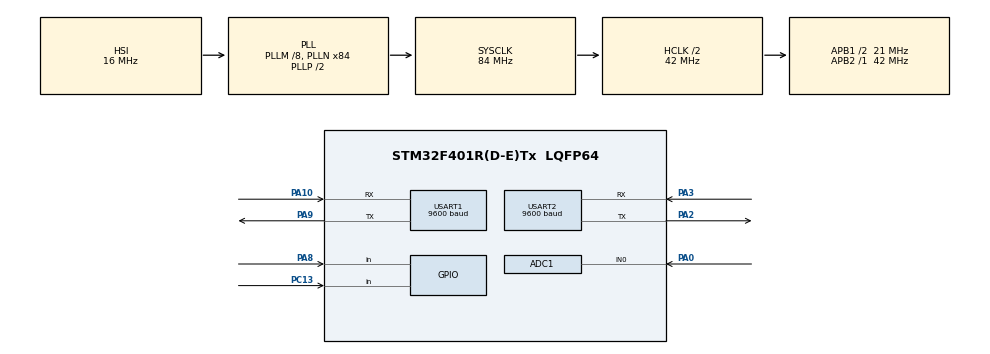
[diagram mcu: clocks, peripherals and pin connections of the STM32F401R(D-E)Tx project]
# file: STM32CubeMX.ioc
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ADC1.Channel-0\#ChannelRegularConversion=ADC_CHANNEL_0
ADC1.NbrOfConversionFlag=1
ADC1.Rank-0\#ChannelRegularConversion=1
ADC1.SamplingTime-0\#ChannelRegularConversion=ADC_SAMPLETIME_3CYCLES
ADC1.master=1
Mcu.Family=STM32F4
Mcu.Name=STM32F401R(D-E)Tx
Mcu.Package=LQFP64
NVIC.PriorityGroup=NVIC_PRIORITYGROUP_4
PA0-WKUP.Signal=ADCx_IN0
PA10.Mode=Asynchronous
PA10.Signal=USART1_RX
PA2.Mode=Asynchronous
PA2.Signal=USART2_TX
PA3.Mode=Asynchronous
PA3.Signal=USART2_RX
PA8.Signal=GPIO_Input
PA9.Mode=Asynchronous
PA9.Signal=USART1_TX
PC13-ANTI_TAMP.Signal=GPIO_Input
ProjectManager.HeapSize=0x200
ProjectManager.StackSize=0x400
ProjectManager.TargetToolchain=MDK-ARM V5
RCC.48MHZClocksFreq_Value=42000000
RCC.AHBCLKDivider=RCC_SYSCLK_DIV2
RCC.AHBFreq_Value=42000000
RCC.APB1CLKDivider=RCC_HCLK_DIV2
RCC.APB1Freq_Value=21000000
RCC.APB1TimFreq_Value=42000000
RCC.APB2Freq_Value=42000000
RCC.APB2TimFreq_Value=42000000
RCC.CortexFreq_Value=42000000
RCC.HCLKFreq_Value=42000000
RCC.HSE_VALUE=25000000
RCC.HSI_VALUE=16000000
RCC.LSE_VALUE=32768
RCC.PLLM=8
RCC.PLLN=84
RCC.SYSCLKFreq_VALUE=84000000
RCC.SYSCLKSource=RCC_SYSCLKSOURCE_PLLCLK
RCC.VCOOutputFreq_Value=168000000
SH.ADCx_IN0.0=ADC1_IN0,IN0
USART1.BaudRate=9600
USART1.VirtualMode=VM_ASYNC
USART2.BaudRate=9600
USART2.VirtualMode=VM_ASYNC
board=custom

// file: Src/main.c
/* USER CODE BEGIN Header */
/**
  ******************************************************************************
  * @file           : main.c
  * @brief          : Main program body
  ******************************************************************************
  * @attention
  *
  * Copyright (c) 2024 STMicroelectronics.
  * All rights reserved.
  *
  * This software is licensed under terms that can be found in the LICENSE file
  * in the root directory of this software component.
  * If no LICENSE file comes with this software, it is provided AS-IS.
  *
  ******************************************************************************
  */
/* USER CODE END Header */
#include "main.h"

/* USER CODE BEGIN Includes */
#include<stdio.h>
#include<string.h>
#include<math.h>
/* USER CODE END Includes */

ADC_HandleTypeDef hadc1;

UART_HandleTypeDef huart1;
UART_HandleTypeDef huart2;

void SystemClock_Config(void);
static void MX_GPIO_Init(void);
static void MX_USART1_UART_Init(void);
static void MX_ADC1_Init(void);
static void MX_USART2_UART_Init(void);
/* USER CODE BEGIN PFP */
float calculate_rms(uint32_t *samples, uint32_t num_samples) ;

/* USER CODE END PFP */

/* USER CODE BEGIN 0 */
#define NUM_SAMPLES 256
uint32_t adc_samples[NUM_SAMPLES];
float rms_value = 0;
uint32_t microphone_value = 0;
char uart_buffer[50];

/* USER CODE END 0 */

int main(void)
{

  /* MCU Configuration--------------------------------------------------------*/

  /* Reset of all peripherals, Initializes the Flash interface and the Systick. */
  HAL_Init();

  /* Configure the system clock */
  SystemClock_Config();

  /* Initialize all configured peripherals */
  MX_GPIO_Init();
  MX_USART1_UART_Init();
  MX_ADC1_Init();
  MX_USART2_UART_Init();
  /* USER CODE BEGIN 2 */
	uint16_t speaker_num;
	uint8_t toggle[1];

  /* USER CODE END 2 */

  /* Infinite loop */
  while (1)
  {

    /* USER CODE BEGIN 3 */

		/*if(HAL_GPIO_ReadPin(GPIOC,GPIO_PIN_13) == GPIO_PIN_SET){
			toggle[0] = 48;
			HAL_UART_Transmit(&huart1,toggle,1,10);
		}else if(HAL_GPIO_ReadPin(GPIOC,GPIO_PIN_13) == GPIO_PIN_RESET){
			toggle[0] = 49;
			HAL_UART_Transmit(&huart1,toggle,1,10);
		}
		HAL_Delay(200);*/

		/*speaker_num = HAL_GPIO_ReadPin(GPIOA,GPIO_PIN_8);
		if(speaker_num == GPIO_PIN_SET){
			toggle[0] = 48;
			HAL_UART_Transmit(&huart1,toggle,1,10);

		}else{
			toggle[0] = 49;
			HAL_UART_Transmit(&huart1,toggle,1,10);
		}
		HAL_Delay(400);*/

		/*HAL_ADC_Start(&hadc1);

        // Poll for ADC conversion complete
        if (HAL_ADC_PollForConversion(&hadc1, HAL_MAX_DELAY) == HAL_OK) {
            // Read the ADC value
            microphone_value = HAL_ADC_GetValue(&hadc1);

					snprintf(uart_buffer, sizeof(uart_buffer), "Mic Value: %lu\r\n", microphone_value);
          HAL_UART_Transmit(&huart2, (uint8_t *)uart_buffer, strlen(uart_buffer), HAL_MAX_DELAY);
        }

        // Stop ADC Conversion
        HAL_ADC_Stop(&hadc1);
				HAL_Delay(200); */

				for (int i = 0; i < NUM_SAMPLES; i++) {
            HAL_ADC_Start(&hadc1);
            if (HAL_ADC_PollForConversion(&hadc1, HAL_MAX_DELAY) == HAL_OK) {
                adc_samples[i] = HAL_ADC_GetValue(&hadc1);
            }
            HAL_ADC_Stop(&hadc1);
        }

        // Calculate RMS value
        rms_value = calculate_rms(adc_samples, NUM_SAMPLES);

				if(rms_value < 3){

					toggle[0] = 49;
					HAL_UART_Transmit(&huart1,toggle,1,10);
				}else if ( rms_value< 11){
					toggle[0] = 48;
					HAL_UART_Transmit(&huart1,toggle,1,10);}
				else{
					toggle[0] = 50;
					HAL_UART_Transmit(&huart1,toggle,1,10);
				}

			snprintf(uart_buffer, sizeof(uart_buffer), "RMS Value: %.2f\r\n", rms_value);
       HAL_UART_Transmit(&huart2, (uint8_t *)uart_buffer, strlen(uart_buffer), HAL_MAX_DELAY);

        HAL_Delay(200);  // Adjust to control update frequency

  /* USER CODE END 3 */
}
}

void SystemClock_Config(void)
{
  RCC_OscInitTypeDef RCC_OscInitStruct = {0};
  RCC_ClkInitTypeDef RCC_ClkInitStruct = {0};

  /** Configure the main internal regulator output voltage
  */
  __HAL_RCC_PWR_CLK_ENABLE();
  __HAL_PWR_VOLTAGESCALING_CONFIG(PWR_REGULATOR_VOLTAGE_SCALE2);

  /** Initializes the RCC Oscillators according to the specified parameters
  * in the RCC_OscInitTypeDef structure.
  */
  RCC_OscInitStruct.OscillatorType = RCC_OSCILLATORTYPE_HSI;
  RCC_OscInitStruct.HSIState = RCC_HSI_ON;
  RCC_OscInitStruct.HSICalibrationValue = RCC_HSICALIBRATION_DEFAULT;
  RCC_OscInitStruct.PLL.PLLState = RCC_PLL_ON;
  RCC_OscInitStruct.PLL.PLLSource = RCC_PLLSOURCE_HSI;
  RCC_OscInitStruct.PLL.PLLM = 8;
  RCC_OscInitStruct.PLL.PLLN = 84;
  RCC_OscInitStruct.PLL.PLLP = RCC_PLLP_DIV2;
  RCC_OscInitStruct.PLL.PLLQ = 4;
  if (HAL_RCC_OscConfig(&RCC_OscInitStruct) != HAL_OK)
  {
    Error_Handler();
  }

  /** Initializes the CPU, AHB and APB buses clocks
  */
  RCC_ClkInitStruct.ClockType = RCC_CLOCKTYPE_HCLK|RCC_CLOCKTYPE_SYSCLK
                              |RCC_CLOCKTYPE_PCLK1|RCC_CLOCKTYPE_PCLK2;
  RCC_ClkInitStruct.SYSCLKSource = RCC_SYSCLKSOURCE_PLLCLK;
  RCC_ClkInitStruct.AHBCLKDivider = RCC_SYSCLK_DIV2;
  RCC_ClkInitStruct.APB1CLKDivider = RCC_HCLK_DIV2;
  RCC_ClkInitStruct.APB2CLKDivider = RCC_HCLK_DIV1;

  if (HAL_RCC_ClockConfig(&RCC_ClkInitStruct, FLASH_LATENCY_1) != HAL_OK)
  {
    Error_Handler();
  }
}

static void MX_ADC1_Init(void)
{

  ADC_ChannelConfTypeDef sConfig = {0};

  /** Configure the global features of the ADC (Clock, Resolution, Data Alignment and number of conversion)
  */
  hadc1.Instance = ADC1;
  hadc1.Init.ClockPrescaler = ADC_CLOCK_SYNC_PCLK_DIV2;
  hadc1.Init.Resolution = ADC_RESOLUTION_12B;
  hadc1.Init.ScanConvMode = DISABLE;
  hadc1.Init.ContinuousConvMode = DISABLE;
  hadc1.Init.DiscontinuousConvMode = DISABLE;
  hadc1.Init.ExternalTrigConvEdge = ADC_EXTERNALTRIGCONVEDGE_NONE;
  hadc1.Init.ExternalTrigConv = ADC_SOFTWARE_START;
  hadc1.Init.DataAlign = ADC_DATAALIGN_RIGHT;
  hadc1.Init.NbrOfConversion = 1;
  hadc1.Init.DMAContinuousRequests = DISABLE;
  hadc1.Init.EOCSelection = ADC_EOC_SINGLE_CONV;
  if (HAL_ADC_Init(&hadc1) != HAL_OK)
  {
    Error_Handler();
  }

  /** Configure for the selected ADC regular channel its corresponding rank in the sequencer and its sample time.
  */
  sConfig.Channel = ADC_CHANNEL_0;
  sConfig.Rank = 1;
  sConfig.SamplingTime = ADC_SAMPLETIME_3CYCLES;
  if (HAL_ADC_ConfigChannel(&hadc1, &sConfig) != HAL_OK)
  {
    Error_Handler();
  }

}

static void MX_USART1_UART_Init(void)
{

  huart1.Instance = USART1;
  huart1.Init.BaudRate = 9600;
  huart1.Init.WordLength = UART_WORDLENGTH_8B;
  huart1.Init.StopBits = UART_STOPBITS_1;
  huart1.Init.Parity = UART_PARITY_NONE;
  huart1.Init.Mode = UART_MODE_TX_RX;
  huart1.Init.HwFlowCtl = UART_HWCONTROL_NONE;
  huart1.Init.OverSampling = UART_OVERSAMPLING_16;
  if (HAL_UART_Init(&huart1) != HAL_OK)
  {
    Error_Handler();
  }

}

static void MX_USART2_UART_Init(void)
{

  huart2.Instance = USART2;
  huart2.Init.BaudRate = 9600;
  huart2.Init.WordLength = UART_WORDLENGTH_8B;
  huart2.Init.StopBits = UART_STOPBITS_1;
  huart2.Init.Parity = UART_PARITY_NONE;
  huart2.Init.Mode = UART_MODE_TX_RX;
  huart2.Init.HwFlowCtl = UART_HWCONTROL_NONE;
  huart2.Init.OverSampling = UART_OVERSAMPLING_16;
  if (HAL_UART_Init(&huart2) != HAL_OK)
  {
    Error_Handler();
  }

}

static void MX_GPIO_Init(void)
{
  GPIO_InitTypeDef GPIO_InitStruct = {0};

  /* GPIO Ports Clock Enable */
  __HAL_RCC_GPIOC_CLK_ENABLE();
  __HAL_RCC_GPIOA_CLK_ENABLE();

  /*Configure GPIO pin : PC13 */
  GPIO_InitStruct.Pin = GPIO_PIN_13;
  GPIO_InitStruct.Mode = GPIO_MODE_INPUT;
  GPIO_InitStruct.Pull = GPIO_NOPULL;
  HAL_GPIO_Init(GPIOC, &GPIO_InitStruct);

  /*Configure GPIO pin : PA8 */
  GPIO_InitStruct.Pin = GPIO_PIN_8;
  GPIO_InitStruct.Mode = GPIO_MODE_INPUT;
  GPIO_InitStruct.Pull = GPIO_NOPULL;
  HAL_GPIO_Init(GPIOA, &GPIO_InitStruct);

}

/* USER CODE BEGIN 4 */
float calculate_rms(uint32_t *samples, uint32_t num_samples) {
    float sum = 0;
    float average = 0;

    // Calculate the average (DC offset)
    for (int i = 0; i < num_samples; i++) {
        average += samples[i];
    }
    average /= num_samples;

    // Calculate the RMS value
    for (int i = 0; i < num_samples; i++) {
        float centered_value = samples[i] - average;  // Remove DC offset
        sum += centered_value * centered_value;
    }

    return sqrtf(sum / num_samples);  // RMS calculation
}

/* USER CODE END 4 */

void Error_Handler(void)
{
  __disable_irq();
  while (1)
  {
  }
}
